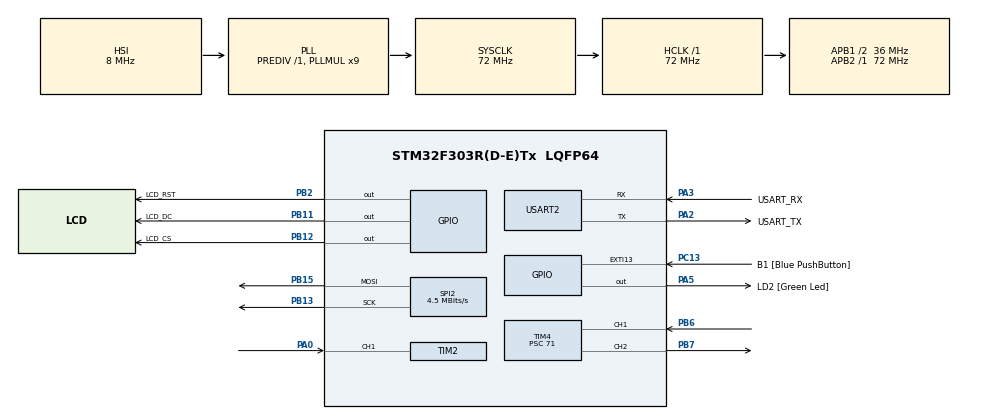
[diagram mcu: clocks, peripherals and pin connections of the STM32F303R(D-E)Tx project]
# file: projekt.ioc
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Dma.Request0=SPI2_TX
Dma.SPI2_TX.0.Direction=DMA_MEMORY_TO_PERIPH
Dma.SPI2_TX.0.Instance=DMA1_Channel5
Dma.SPI2_TX.0.MemDataAlignment=DMA_MDATAALIGN_BYTE
Dma.SPI2_TX.0.MemInc=DMA_MINC_ENABLE
Dma.SPI2_TX.0.Mode=DMA_NORMAL
Dma.SPI2_TX.0.PeriphDataAlignment=DMA_PDATAALIGN_BYTE
Dma.SPI2_TX.0.PeriphInc=DMA_PINC_DISABLE
Dma.SPI2_TX.0.Priority=DMA_PRIORITY_LOW
Mcu.Family=STM32F3
Mcu.Name=STM32F303R(D-E)Tx
Mcu.Package=LQFP64
NVIC.DMA1_Channel5_IRQn=true\:0\:0\:false\:false\:true\:false\:true\:true
NVIC.PriorityGroup=NVIC_PRIORITYGROUP_0
NVIC.TIM2_IRQn=true\:0\:0\:false\:false\:true\:true\:true\:true
PA0.Signal=S_TIM2_CH1_ETR
PA13.GPIO_Label=TMS
PA13.Mode=Serial_Wire
PA13.Signal=SYS_JTMS-SWDIO
PA14.GPIO_Label=TCK
PA14.Mode=Serial_Wire
PA14.Signal=SYS_JTCK-SWCLK
PA2.GPIO_Label=USART_TX
PA2.GPIO_Mode=GPIO_MODE_AF_PP
PA2.GPIO_PuPd=GPIO_NOPULL
PA2.GPIO_Speed=GPIO_SPEED_FREQ_LOW
PA2.Mode=Asynchronous
PA2.Signal=USART2_TX
PA3.GPIO_Label=USART_RX
PA3.GPIO_Mode=GPIO_MODE_AF_PP
PA3.GPIO_PuPd=GPIO_NOPULL
PA3.GPIO_Speed=GPIO_SPEED_FREQ_LOW
PA3.Mode=Asynchronous
PA3.Signal=USART2_RX
PA5.GPIO_Label=LD2 [Green Led]
PA5.GPIO_Mode=GPIO_MODE_OUTPUT_PP
PA5.GPIO_PuPd=GPIO_NOPULL
PA5.GPIO_Speed=GPIO_SPEED_FREQ_LOW
PA5.Signal=GPIO_Output
PB11.GPIO_Label=LCD_DC
PB11.Signal=GPIO_Output
PB12.GPIO_Label=LCD_CS
PB12.Signal=GPIO_Output
PB13.Mode=TX_Only_Simplex_Unidirect_Master
PB13.Signal=SPI2_SCK
PB15.Mode=TX_Only_Simplex_Unidirect_Master
PB15.Signal=SPI2_MOSI
PB2.GPIO_Label=LCD_RST
PB2.Signal=GPIO_Output
PB3.GPIO_Label=SWO
PB3.Signal=SYS_JTDO-TRACESWO
PB6.Signal=S_TIM4_CH1
PB7.Signal=S_TIM4_CH2
PC13.GPIO_Label=B1 [Blue PushButton]
PC13.GPIO_ModeDefaultEXTI=GPIO_MODE_IT_FALLING
PC13.Signal=GPXTI13
PC14-OSC32_IN.Mode=LSE-External-Oscillator
PC14-OSC32_IN.Signal=RCC_OSC32_IN
PC15-OSC32_OUT.Mode=LSE-External-Oscillator
PC15-OSC32_OUT.Signal=RCC_OSC32_OUT
PF0-OSC_IN.Mode=HSE-External-Clock-Source
PF0-OSC_IN.Signal=RCC_OSC_IN
PF1-OSC_OUT.Signal=RCC_OSC_OUT
ProjectManager.HeapSize=0x200
ProjectManager.StackSize=0x400
ProjectManager.TargetToolchain=STM32CubeIDE
RCC.AHBFreq_Value=72000000
RCC.APB1CLKDivider=RCC_HCLK_DIV2
RCC.APB1Freq_Value=36000000
RCC.APB1TimFreq_Value=72000000
RCC.APB2Freq_Value=72000000
RCC.APB2TimFreq_Value=72000000
RCC.CortexFreq_Value=72000000
RCC.HCLKFreq_Value=72000000
RCC.HSE_VALUE=8000000
RCC.HSI_VALUE=8000000
RCC.PLLM=8
RCC.PLLMUL=RCC_PLL_MUL9
RCC.PLLN=336
RCC.PLLP=RCC_PLLP_DIV4
RCC.PLLQ=7
RCC.RCC_PLLsource_Clock_Source_FROM_HSE=RCC_HSE_PREDIV_DIV2
RCC.SYSCLKFreq_VALUE=72000000
RCC.SYSCLKSourceVirtual=RCC_SYSCLKSOURCE_PLLCLK
RCC.USBFreq_Value=72000000
SH.S_TIM2_CH1_ETR.0=TIM2_CH1,TriggerSource_TI1ED
SH.S_TIM2_CH1_ETR.1=TIM2_CH1,Input_Capture1_from_TI1
SH.S_TIM4_CH1.0=TIM4_CH1,Input_Capture1_from_TI1
SH.S_TIM4_CH2.0=TIM4_CH2,PWM Generation2 CH2
SPI2.BaudRatePrescaler=SPI_BAUDRATEPRESCALER_8
SPI2.CalculateBaudRate=4.5 MBits/s
SPI2.DataSize=SPI_DATASIZE_8BIT
SPI2.Direction=SPI_DIRECTION_2LINES
SPI2.Mode=SPI_MODE_MASTER
SPI2.NSSPMode=SPI_NSS_PULSE_DISABLE
SPI2.VirtualType=VM_MASTER
TIM2.Channel-Input_Capture1_from_TI1=TIM_CHANNEL_1
TIM2.ICPolarity_CH1=TIM_INPUTCHANNELPOLARITY_FALLING
TIM2.Prescaler=71
TIM4.Channel-Input_Capture1_from_TI1=TIM_CHANNEL_1
TIM4.Channel-PWM\ Generation2\ CH2=TIM_CHANNEL_2
TIM4.ICPolarity_CH1=TIM_INPUTCHANNELPOLARITY_FALLING
TIM4.Period=9999
TIM4.Prescaler=71
TIM4.Pulse-PWM\ Generation2\ CH2=10
USART2.VirtualMode-Asynchronous=VM_ASYNC
VP_TIM2_VS_ClockSourceINT.Mode=Internal
VP_TIM2_VS_ControllerModeReset.Mode=Reset Mode
VP_TIM4_VS_ClockSourceINT.Mode=Internal
board=NUCLEO-F303RE

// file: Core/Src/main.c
/* USER CODE BEGIN Header */
/**
  ******************************************************************************
  * @file           : main.c
  * @brief          : Main program body
  ******************************************************************************
  * @attention
  *
  * Copyright (c) 2023 STMicroelectronics.
  * All rights reserved.
  *
  * This software is licensed under terms that can be found in the LICENSE file
  * in the root directory of this software component.
  * If no LICENSE file comes with this software, it is provided AS-IS.
  *
  ******************************************************************************
  */
/* USER CODE END Header */
#include "main.h"
#include "dma.h"
#include "spi.h"
#include "tim.h"
#include "usart.h"
#include "gpio.h"

/* USER CODE BEGIN Includes */
#include "lcd.h"
#include "ir.h"
#include "type_new.c"
#include "access_granted.c"
#include "try_again.c"
#include <stdio.h>
#include "ir.h"
#include "keypad.c"
/* USER CODE END Includes */

/* USER CODE BEGIN PV */
//uint16_t test_image[64*64];
#define values_size 4
int values[values_size];
int values_it=0;
int value_echo;
bool access=true;
/* USER CODE END PV */

void SystemClock_Config(void);

/* USER CODE BEGIN 0 */
int __io_putchar(int ch)
{
  if (ch == '\n') {
    __io_putchar('\r');
  }

  HAL_UART_Transmit(&huart2, (uint8_t*)&ch, 1, HAL_MAX_DELAY);

  return 1;
}
/* USER CODE END 0 */

int main(void)
{

  /* MCU Configuration--------------------------------------------------------*/

  /* Reset of all peripherals, Initializes the Flash interface and the Systick. */
  HAL_Init();

  /* Configure the system clock */
  SystemClock_Config();

  /* Initialize all configured peripherals */
  MX_GPIO_Init();
  MX_DMA_Init();
  MX_USART2_UART_Init();
  MX_TIM2_Init();
  MX_SPI2_Init();
  MX_TIM4_Init();
  /* USER CODE BEGIN 2 */
  lcd_init();

  ir_init();

  HAL_TIM_IC_Start(&htim4, TIM_CHANNEL_1);
  HAL_TIM_PWM_Start(&htim4, TIM_CHANNEL_2);
  HAL_Delay(1000);

  keypad();

  /* USER CODE END 2 */

  /* Infinite loop */
  /* USER CODE BEGIN WHILE */
  while (1)
  {
	  uint32_t value_echo = HAL_TIM_ReadCapturedValue(&htim4, TIM_CHANNEL_1);

	  if (value_echo<3000){
		  type_new_lcd();
		  access=false;
	  }
	  else{
		  keypad();
		  access=true;
	  }
	  if (!access){
		  int value = ir_read();
		  if (value != -1) {
			printf("code = %02x\n", value);
			values[values_it%4]=value;
			printf("%d\n",value);
			values_it++;

		  }

		  if (values_it==4){
			  if (values[0]==IR_CODE_1 && values[1]==IR_CODE_2 && values[2]==IR_CODE_3 && values[3]==IR_CODE_4){
			  access_granted_lcd();
				access=true;
				for (int i=0;i<4;i++){
					values[i]=0;
				}
				HAL_Delay(5000);
			}
			else{
				try_again_lcd();
				for (int i=0;i<4;i++){
					values[i]=0;
				}
				HAL_Delay(1000);
			}
			values_it=0;
		  }
	  }
    /* USER CODE END WHILE */

  }
}

void SystemClock_Config(void)
{
  RCC_OscInitTypeDef RCC_OscInitStruct = {0};
  RCC_ClkInitTypeDef RCC_ClkInitStruct = {0};
  RCC_PeriphCLKInitTypeDef PeriphClkInit = {0};

  /** Initializes the RCC Oscillators according to the specified parameters
  * in the RCC_OscInitTypeDef structure.
  */
  RCC_OscInitStruct.OscillatorType = RCC_OSCILLATORTYPE_HSI;
  RCC_OscInitStruct.HSIState = RCC_HSI_ON;
  RCC_OscInitStruct.HSICalibrationValue = RCC_HSICALIBRATION_DEFAULT;
  RCC_OscInitStruct.PLL.PLLState = RCC_PLL_ON;
  RCC_OscInitStruct.PLL.PLLSource = RCC_PLLSOURCE_HSI;
  RCC_OscInitStruct.PLL.PLLMUL = RCC_PLL_MUL9;
  RCC_OscInitStruct.PLL.PREDIV = RCC_PREDIV_DIV1;
  if (HAL_RCC_OscConfig(&RCC_OscInitStruct) != HAL_OK)
  {
    Error_Handler();
  }

  /** Initializes the CPU, AHB and APB buses clocks
  */
  RCC_ClkInitStruct.ClockType = RCC_CLOCKTYPE_HCLK|RCC_CLOCKTYPE_SYSCLK
                              |RCC_CLOCKTYPE_PCLK1|RCC_CLOCKTYPE_PCLK2;
  RCC_ClkInitStruct.SYSCLKSource = RCC_SYSCLKSOURCE_PLLCLK;
  RCC_ClkInitStruct.AHBCLKDivider = RCC_SYSCLK_DIV1;
  RCC_ClkInitStruct.APB1CLKDivider = RCC_HCLK_DIV2;
  RCC_ClkInitStruct.APB2CLKDivider = RCC_HCLK_DIV1;

  if (HAL_RCC_ClockConfig(&RCC_ClkInitStruct, FLASH_LATENCY_2) != HAL_OK)
  {
    Error_Handler();
  }
  PeriphClkInit.PeriphClockSelection = RCC_PERIPHCLK_USART2|RCC_PERIPHCLK_TIM2
                              |RCC_PERIPHCLK_TIM34;
  PeriphClkInit.Usart2ClockSelection = RCC_USART2CLKSOURCE_PCLK1;
  PeriphClkInit.Tim2ClockSelection = RCC_TIM2CLK_HCLK;
  PeriphClkInit.Tim34ClockSelection = RCC_TIM34CLK_HCLK;
  if (HAL_RCCEx_PeriphCLKConfig(&PeriphClkInit) != HAL_OK)
  {
    Error_Handler();
  }
}

/* USER CODE BEGIN 4 */
void type_new_lcd(void)
{
	 lcd_draw_image_optimized(0, 0, 160, 128, type_new);

}

void access_granted_lcd(void)
{
	 lcd_draw_image_optimized(0, 0, 160, 128, access_granted);

}

void try_again_lcd(void)
{
	 lcd_draw_image_optimized(0, 0, 160, 128, try_again);

}

void keypad(void)
{
	 lcd_draw_image_optimized(0, 0, 160, 128, key_pad);

}

void HAL_SPI_TxCpltCallback(SPI_HandleTypeDef *hspi)
{
	if (hspi == &hspi2)
	{
		lcd_transfer_done();
	}
}
void HAL_TIM_IC_CaptureCallback(TIM_HandleTypeDef *htim)
{
  if (htim == &htim2)
  {
    switch (HAL_TIM_GetActiveChannel(&htim2))
    {
      case HAL_TIM_ACTIVE_CHANNEL_1:
        ir_tim_interrupt();
        break;
      default:
        break;
    }
  }
}
/* USER CODE END 4 */

void Error_Handler(void)
{
  __disable_irq();
  while (1)
  {
  }
}
